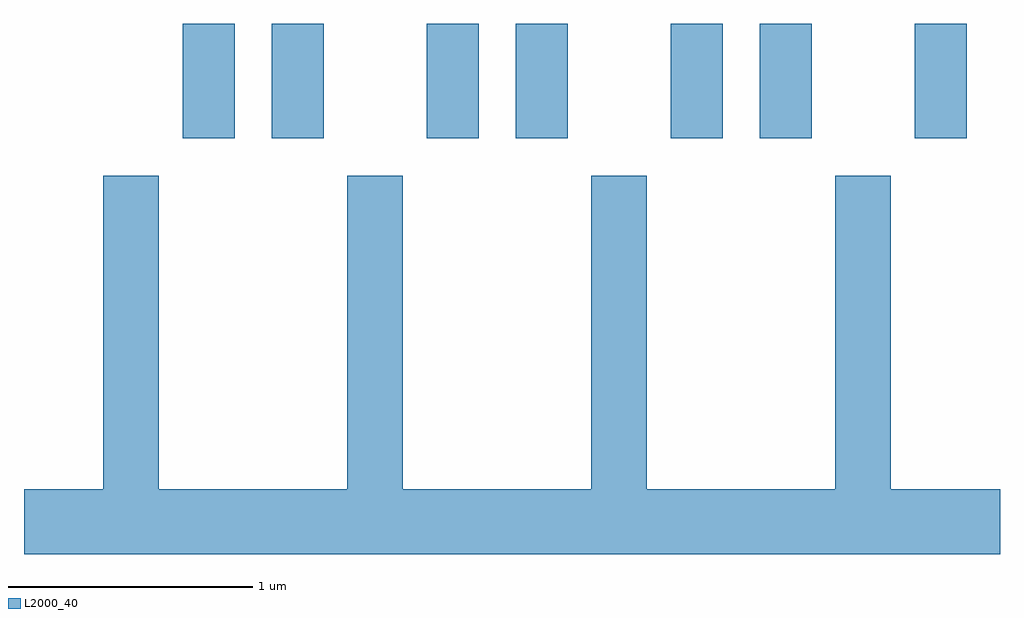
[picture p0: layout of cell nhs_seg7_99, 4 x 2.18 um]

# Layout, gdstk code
import gdstk
lib = gdstk.Library(unit=1e-6, precision=1e-09)
def R(c, l, rs):  # rectangles x0, y0, x1, y1
    for r in rs: c.add(gdstk.rectangle(r[:2], r[2:], *l))
def P(c, l, *ps):  # polygons
    for p in ps: c.add(gdstk.Polygon(p, *l))
L2000_40 = (2000, 40)

nhs_seg7_99 = lib.new_cell('nhs_seg7_99')
R(nhs_seg7_99, L2000_40, [(188.261,1733.781,188.474,1734.252), (188.626,1733.781,188.839,1734.252), (189.261,1733.781,189.474,1734.252), (189.626,1733.781,189.839,1734.252), (190.261,1733.781,190.474,1734.252), (190.626,1733.781,190.839,1734.252), (191.261,1733.781,191.474,1734.252)])
P(nhs_seg7_99, L2000_40, [(191.611,1732.344),(191.164,1732.344),(191.164,1733.629),(190.936,1733.629),(190.936,1732.344),(190.164,1732.344),(190.164,1733.629),(189.936,1733.629),(189.936,1732.344),(189.164,1732.344),(189.164,1733.629),(188.936,1733.629),(188.936,1732.344),(188.164,1732.344),(188.164,1733.629),(187.936,1733.629),(187.936,1732.344),(187.611,1732.344),(187.611,1732.076),(191.611,1732.076)])

lib.write_gds('nhs_seg7_99.gds')
